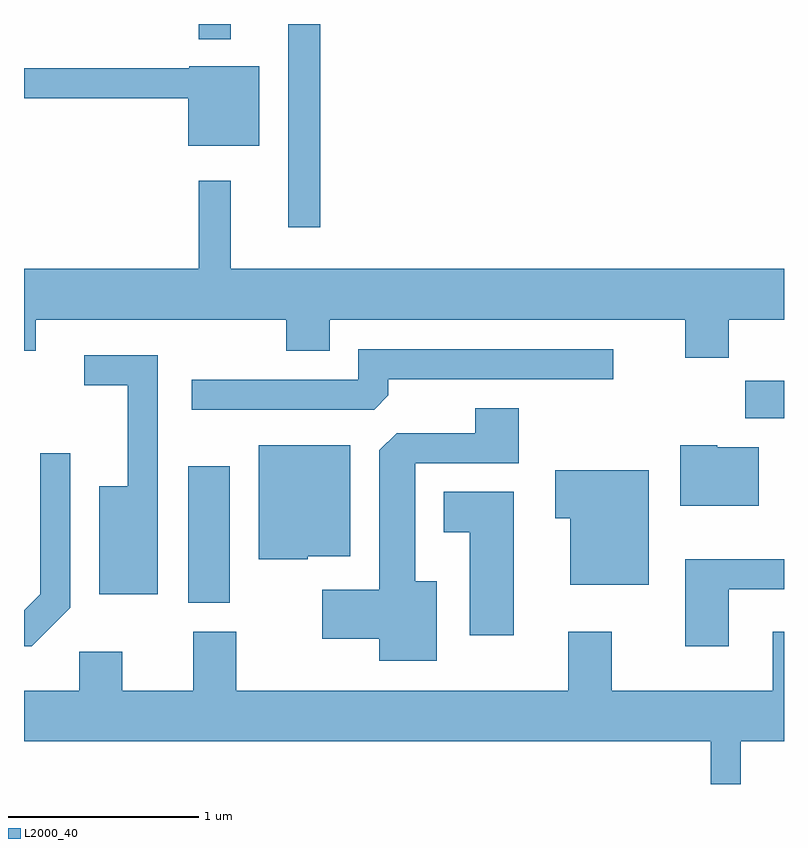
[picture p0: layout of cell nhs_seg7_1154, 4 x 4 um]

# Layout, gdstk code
import gdstk
lib = gdstk.Library(unit=1e-6, precision=1e-09)
def R(c, l, rs):  # rectangles x0, y0, x1, y1
    for r in rs: c.add(gdstk.rectangle(r[:2], r[2:], *l))
def P(c, l, *ps):  # polygons
    for p in ps: c.add(gdstk.Polygon(p, *l))
L2000_40 = (2000, 40)

nhs_seg7_1154 = lib.new_cell('nhs_seg7_1154')
R(nhs_seg7_1154, L2000_40, [(220.476,1777.206,220.694,1777.924), (223.406,1778.176,223.611,1778.374), (221.001,1779.183,221.169,1780.252), (220.531,1780.173,220.699,1780.252)])
P(nhs_seg7_1154, L2000_40, [(220.849,1780.029),(220.48,1780.029),(220.48,1780.019),(219.611,1780.019),(219.611,1779.861),(220.476,1779.861),(220.476,1779.611),(220.849,1779.611)],
  [(223.319,1778.696),(223.611,1778.696),(223.611,1778.964),(220.699,1778.964),(220.699,1779.428),(220.531,1779.428),(220.531,1778.964),(219.611,1778.964),(219.611,1778.531),(219.674,1778.531),(219.674,1778.696),(220.991,1778.696),(220.991,1778.531),(221.219,1778.531),(221.219,1778.696),(223.091,1778.696),(223.091,1778.496),(223.319,1778.496)],
  [(221.529,1778.297),(221.529,1778.381),(222.713,1778.381),(222.713,1778.539),(221.371,1778.539),(221.371,1778.379),(220.493,1778.379),(220.493,1778.221),(221.454,1778.221)],
  [(220.314,1778.509),(219.928,1778.509),(219.928,1778.351),(220.156,1778.351),(220.156,1777.819),(220.006,1777.819),(220.006,1777.251),(220.314,1777.251)],
  [(221.784,1777.319),(221.669,1777.319),(221.669,1777.941),(222.214,1777.941),(222.214,1778.229),(221.986,1778.229),(221.986,1778.099),(221.572,1778.099),(221.481,1778.009),(221.481,1777.274),(221.181,1777.274),(221.181,1777.016),(221.481,1777.016),(221.481,1776.901),(221.784,1776.901)],
  [(223.479,1778.024),(223.26,1778.024),(223.26,1778.034),(223.066,1778.034),(223.066,1777.716),(223.479,1777.716)],
  [(221.105,1777.451),(221.329,1777.451),(221.329,1778.034),(220.846,1778.034),(220.846,1777.436),(221.105,1777.436)],
  [(219.854,1777.179),(219.854,1777.993),(219.696,1777.993),(219.696,1777.252),(219.611,1777.166),(219.611,1776.976),(219.652,1776.976)],
  [(222.899,1777.904),(222.406,1777.904),(222.406,1777.651),(222.486,1777.651),(222.486,1777.301),(222.899,1777.301)],
  [(222.189,1777.789),(221.821,1777.789),(221.821,1777.576),(221.956,1777.576),(221.956,1777.036),(222.189,1777.036)],
  [(223.319,1777.276),(223.611,1777.276),(223.611,1777.434),(223.091,1777.434),(223.091,1776.976),(223.319,1776.976)],
  [(223.384,1776.476),(223.611,1776.476),(223.611,1777.054),(223.551,1777.054),(223.551,1776.744),(222.704,1776.744),(222.704,1777.054),(222.476,1777.054),(222.476,1776.744),(220.729,1776.744),(220.729,1777.054),(220.501,1777.054),(220.501,1776.744),(220.129,1776.744),(220.129,1776.949),(219.901,1776.949),(219.901,1776.744),(219.611,1776.744),(219.611,1776.476),(223.226,1776.476),(223.226,1776.252),(223.384,1776.252)])

lib.write_gds('nhs_seg7_1154.gds')
